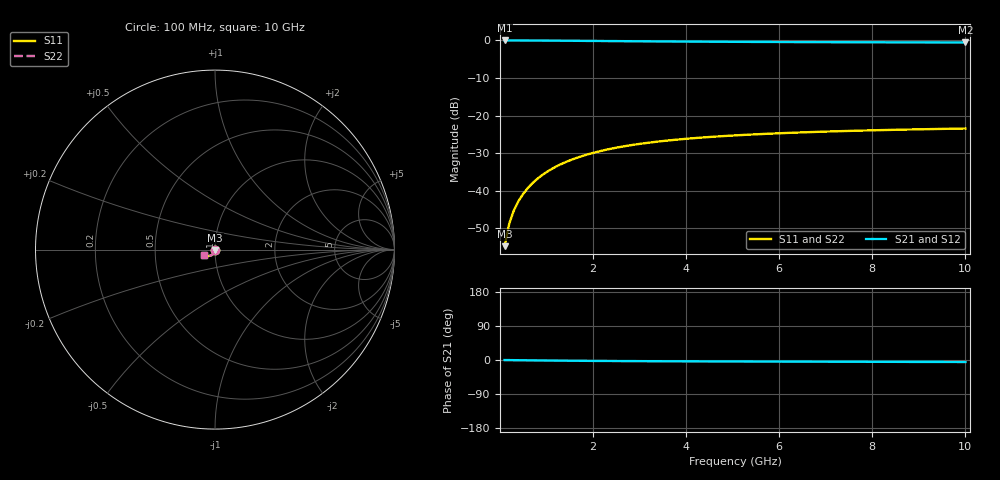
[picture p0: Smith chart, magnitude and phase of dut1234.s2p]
! Touchstone file exported from HFSS 2024.1.0
!  File:  C:/UserFiles/LocalFiles/RDL_TSV_Batchsim/temp_TSV1_1234_1780250865.aedt
!  Generated:  02:11:58 AM Jun  1, 2026
!  Design:  TSV1
!  Project:  temp_TSV1_1234_1780250865
!  Setup:  Setup1
!  Solution:  Sweep
! Variables:
!  dtsv = 14.18um
!  hbump = 3um
!  htsv = 79.43um
!  lrdl = 252.1521522um
!  p = 40
!  p1 = 44.69um
!  t = 500um
!  trdl = 3um
!  wrdl = 24.89489489um
# GHz S MA R 50.000000
! Terminal data exported
! Port[1] = TSV22_T1
! Port[2] = TSV22_T2
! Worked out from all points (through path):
!   100 points, 100 MHz to 10 GHz, reference 50 ohm
!   highest |S21| = 0.00 dB at 100 MHz (marker M1); lowest = -0.5 dB at 10 GHz (marker M2)
!   lowest |S11| = -54.8 dB at 100 MHz (marker M3), VSWR 1.00, Z = 50 - j0.183 ohm
!   |S11| at or under -10 dB: start of sweep to end of sweep
!   |S22| runs from -54.8 to -23.4 dB; largest |S21 - S12| = 5.1e-15
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0.1  0.001828 -88.9  0.9999 -0.1  0.9999 -0.1  0.001828 -88.9
! Gamma 0 0 0 0
! Port Impedance 50 0 50 0
0.2  0.003663 -92.0  0.9997 -0.3  0.9997 -0.3  0.003663 -92.0
0.3  0.005493 -94.0  0.9994 -0.4  0.9994 -0.4  0.005493 -94.0
0.4  0.007309 -95.7  0.9991 -0.6  0.9991 -0.6  0.007309 -95.7
0.5  0.009106 -97.3  0.9986 -0.7  0.9986 -0.7  0.009106 -97.3
0.6  0.01088 -98.9  0.9981 -0.8  0.9981 -0.8  0.01088 -98.9
0.7  0.01263 -100.5  0.9975 -1.0  0.9975 -1.0  0.01263 -100.5
0.8  0.01434 -102.0  0.9968 -1.1  0.9968 -1.1  0.01434 -102.0
0.9  0.01603 -103.5  0.996 -1.2  0.996 -1.2  0.01603 -103.5
1.1  0.01928 -106.4  0.9943 -1.5  0.9943 -1.5  0.01928 -106.4
1.4  0.02387 -110.4  0.9914 -1.8  0.9914 -1.8  0.02387 -110.4
1.6  0.02671 -113.0  0.9894 -2.0  0.9894 -2.0  0.02671 -113.0
1.8  0.02938 -115.4  0.9873 -2.2  0.9873 -2.2  0.02938 -115.4
2.1  0.03305 -118.8  0.9841 -2.4  0.9841 -2.4  0.03305 -118.8
2.5  0.03738 -122.9  0.9799 -2.7  0.9799 -2.7  0.03738 -122.9
2.9  0.04113 -126.4  0.9758 -3.0  0.9758 -3.0  0.04113 -126.4
3.4  0.04512 -130.3  0.9712 -3.2  0.9712 -3.2  0.04512 -130.3
4.2  0.05026 -135.5  0.9647 -3.6  0.9647 -3.6  0.05026 -135.5
5.1  0.0547 -140.0  0.9586 -3.9  0.9586 -3.9  0.0547 -140.0
6.7  0.06038 -146.0  0.9505 -4.4  0.9505 -4.4  0.06038 -146.0
8.4  0.06451 -150.6  0.9444 -4.9  0.9444 -4.9  0.06451 -150.6
10  0.06728 -153.9  0.9403 -5.3  0.9403 -5.3  0.06728 -153.9
